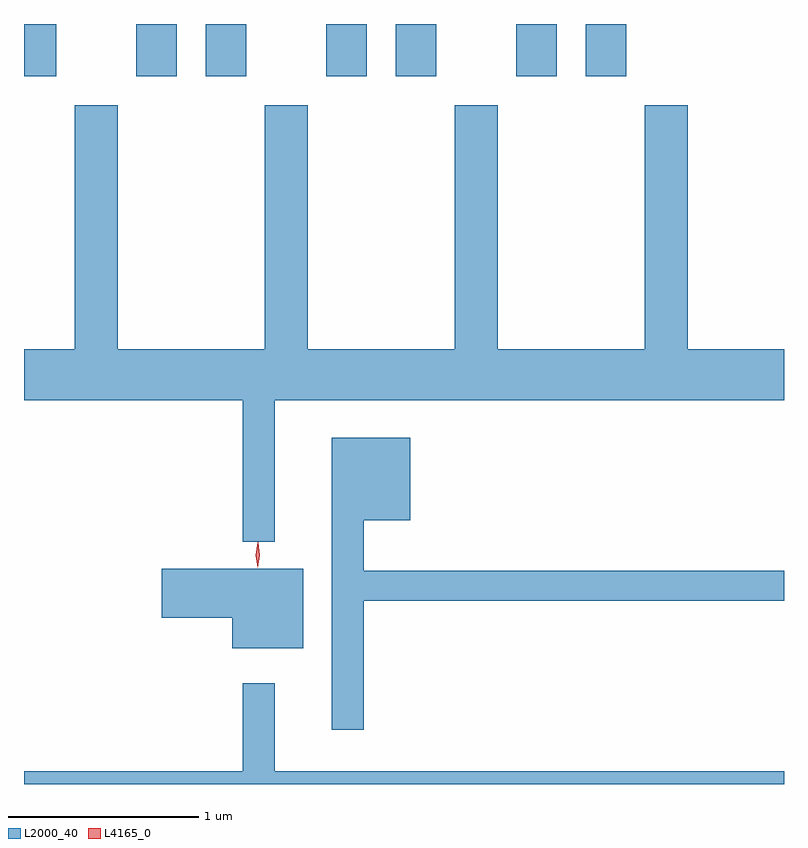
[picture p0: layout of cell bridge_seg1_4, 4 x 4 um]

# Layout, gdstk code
import gdstk
lib = gdstk.Library(unit=1e-6, precision=1e-09)
def R(c, l, rs):  # rectangles x0, y0, x1, y1
    for r in rs: c.add(gdstk.rectangle(r[:2], r[2:], *l))
def P(c, l, *ps):  # polygons
    for p in ps: c.add(gdstk.Polygon(p, *l))
L2000_40 = (2000, 40)
L4165_0 = (4165, 0)

bridge_seg1_4 = lib.new_cell('bridge_seg1_4')
R(bridge_seg1_4, L2000_40, [(1626.86,845.781,1627.029,846.057), (1627.451,845.781,1627.664,846.057), (1627.816,845.781,1628.029,846.057), (1628.451,845.781,1628.664,846.057), (1628.816,845.781,1629.029,846.057), (1629.451,845.781,1629.664,846.057), (1629.816,845.781,1630.029,846.057)])
P(bridge_seg1_4, L2000_40, [(1628.179,844.076),(1630.86,844.076),(1630.86,844.344),(1630.354,844.344),(1630.354,845.629),(1630.126,845.629),(1630.126,844.344),(1629.354,844.344),(1629.354,845.629),(1629.126,845.629),(1629.126,844.344),(1628.354,844.344),(1628.354,845.629),(1628.126,845.629),(1628.126,844.344),(1627.354,844.344),(1627.354,845.629),(1627.126,845.629),(1627.126,844.344),(1626.86,844.344),(1626.86,844.076),(1628.011,844.076),(1628.011,843.333),(1628.179,843.333)],
  [(1628.649,843.021),(1630.86,843.021),(1630.86,843.179),(1628.649,843.179),(1628.649,843.446),(1628.894,843.446),(1628.894,843.879),(1628.481,843.879),(1628.481,842.343),(1628.649,842.343)],
  [(1628.329,843.189),(1627.586,843.189),(1627.586,842.931),(1627.956,842.931),(1627.956,842.771),(1628.329,842.771)],
  [(1630.86,842.124),(1628.179,842.124),(1628.179,842.588),(1628.011,842.588),(1628.011,842.124),(1626.86,842.124),(1626.86,842.057),(1630.86,842.057)])
P(bridge_seg1_4, L4165_0, [(1628.09,843.2),(1628.09,843.2),(1628.08,843.263),(1628.09,843.327),(1628.09,843.327),(1628.091,843.327),(1628.1,843.263),(1628.091,843.2)],
  [(1628.089,843.194),(1628.089,843.194),(1628.08,843.262),(1628.091,843.33),(1628.091,843.33),(1628.092,843.33),(1628.1,843.262),(1628.09,843.194)])

lib.write_gds('bridge_seg1_4.gds')
